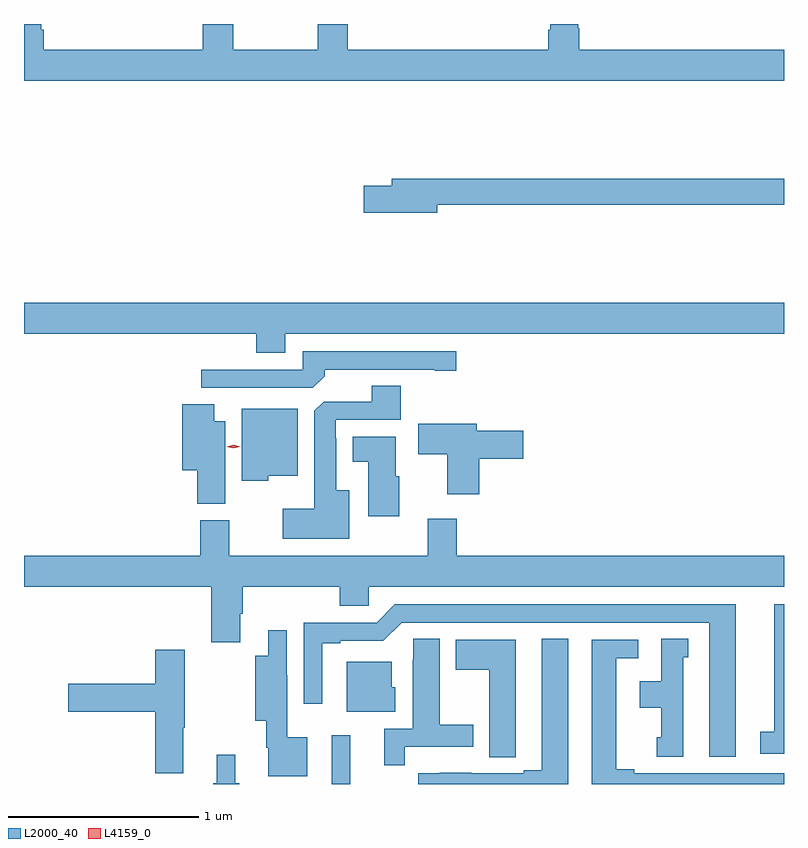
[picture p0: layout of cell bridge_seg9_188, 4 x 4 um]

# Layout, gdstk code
import gdstk
lib = gdstk.Library(unit=1e-6, precision=1e-09)
def R(c, l, rs):  # rectangles x0, y0, x1, y1
    for r in rs: c.add(gdstk.rectangle(r[:2], r[2:], *l))
def P(c, l, *ps):  # polygons
    for p in ps: c.add(gdstk.Polygon(p, *l))
L2000_40 = (2000, 40)
L4159_0 = (4159, 0)

bridge_seg9_188 = lib.new_cell('bridge_seg9_188')
R(bridge_seg9_188, L2000_40, [(181.818,1219.359,181.916,1219.615)])
P(bridge_seg9_188, L2000_40, [(180.199,1223.359),(180.199,1223.06),(184.199,1223.06),(184.199,1223.224),(183.122,1223.224),(183.122,1223.337),(183.117,1223.337),(183.117,1223.359),(182.969,1223.359),(182.969,1223.33),(182.957,1223.33),(182.957,1223.224),(181.904,1223.224),(181.904,1223.359),(181.744,1223.359),(181.744,1223.224),(181.299,1223.224),(181.299,1223.359),(181.139,1223.359),(181.139,1223.224),(180.302,1223.224),(180.302,1223.33),(180.289,1223.33),(180.289,1223.359)],
  [(182.374,1222.408),(184.199,1222.408),(184.199,1222.544),(182.135,1222.544),(182.135,1222.508),(181.986,1222.508),(181.986,1222.366),(182.374,1222.366)],
  [(181.573,1221.728),(184.199,1221.728),(184.199,1221.892),(180.199,1221.892),(180.199,1221.728),(181.421,1221.728),(181.421,1221.629),(181.573,1221.629)],
  [(181.781,1221.506),(181.781,1221.54),(182.36,1221.54),(182.36,1221.535),(182.473,1221.535),(182.473,1221.636),(181.665,1221.636),(181.665,1221.54),(181.131,1221.54),(181.131,1221.444),(181.719,1221.444)],
  [(181.912,1220.905),(181.843,1220.905),(181.843,1221.179),(181.839,1221.179),(181.839,1221.276),(182.183,1221.276),(182.183,1221.455),(182.03,1221.455),(182.03,1221.372),(181.776,1221.372),(181.727,1221.323),(181.727,1220.809),(181.56,1220.809),(181.56,1220.651),(181.912,1220.651)],
  [(181.258,1221.268),(181.201,1221.268),(181.201,1221.359),(181.031,1221.359),(181.031,1221.011),(181.112,1221.011),(181.112,1220.833),(181.258,1220.833)],
  [(181.485,1220.981),(181.639,1220.981),(181.639,1221.334),(181.346,1221.334),(181.346,1220.954),(181.485,1220.954)],
  [(182.594,1221.071),(182.827,1221.071),(182.827,1221.218),(182.581,1221.218),(182.581,1221.256),(182.274,1221.256),(182.274,1221.094),(182.426,1221.094),(182.426,1220.883),(182.594,1220.883)],
  [(182.173,1220.979),(182.155,1220.979),(182.155,1221.187),(181.928,1221.187),(181.928,1221.056),(182.012,1221.056),(182.012,1220.769),(182.173,1220.769)],
  [(181.336,1220.254),(181.349,1220.254),(181.349,1220.396),(181.862,1220.396),(181.862,1220.298),(182.013,1220.298),(182.013,1220.396),(184.199,1220.396),(184.199,1220.56),(182.477,1220.56),(182.477,1220.755),(182.324,1220.755),(182.324,1220.56),(181.279,1220.56),(181.279,1220.748),(181.127,1220.748),(181.127,1220.56),(180.199,1220.56),(180.199,1220.396),(181.184,1220.396),(181.184,1220.106),(181.336,1220.106)],
  [(184.199,1220.304),(184.148,1220.304),(184.148,1219.634),(184.074,1219.634),(184.074,1219.518),(184.199,1219.518)],
  [(183.946,1220.304),(182.151,1220.304),(182.055,1220.208),(181.671,1220.208),(181.671,1219.782),(181.768,1219.782),(181.768,1220.1),(181.864,1220.1),(181.864,1220.112),(182.091,1220.112),(182.187,1220.208),(183.806,1220.208),(183.806,1219.503),(183.946,1219.503)],
  [(181.69,1219.606),(181.584,1219.606),(181.584,1219.931),(181.582,1219.931),(181.582,1220.167),(181.484,1220.167),(181.484,1220.035),(181.417,1220.035),(181.417,1219.691),(181.473,1219.691),(181.473,1219.55),(181.485,1219.55),(181.485,1219.4),(181.69,1219.4)],
  [(182.204,1219.554),(182.563,1219.554),(182.563,1219.671),(182.386,1219.671),(182.386,1220.123),(182.247,1220.123),(182.247,1220.012),(182.246,1220.012),(182.246,1219.65),(182.096,1219.65),(182.096,1219.458),(182.204,1219.458)],
  [(183.064,1220.123),(182.924,1220.123),(182.924,1219.431),(182.828,1219.431),(182.828,1219.416),(182.552,1219.416),(182.552,1219.417),(182.386,1219.417),(182.386,1219.416),(182.274,1219.416),(182.274,1219.359),(183.064,1219.359)],
  [(183.67,1220.025),(183.694,1220.025),(183.694,1220.123),(183.554,1220.123),(183.554,1219.9),(183.44,1219.9),(183.44,1219.76),(183.554,1219.76),(183.554,1219.605),(183.53,1219.605),(183.53,1219.503),(183.67,1219.503)],
  [(182.787,1219.609),(182.788,1219.609),(182.788,1220.119),(182.471,1220.119),(182.471,1219.96),(182.648,1219.96),(182.648,1219.501),(182.787,1219.501)],
  [(184.199,1219.416),(183.412,1219.416),(183.412,1219.436),(183.316,1219.436),(183.316,1220.022),(183.433,1220.022),(183.433,1220.118),(183.188,1220.118),(183.188,1219.359),(184.199,1219.359)],
  [(181.036,1219.655),(181.044,1219.655),(181.044,1220.065),(180.89,1220.065),(180.89,1219.886),(180.432,1219.886),(180.432,1219.739),(180.89,1219.739),(180.89,1219.416),(181.036,1219.416)],
  [(182.152,1219.869),(182.134,1219.869),(182.134,1220.002),(181.898,1220.002),(181.898,1219.739),(182.152,1219.739)],
  [(181.331,1219.362),(181.312,1219.362),(181.312,1219.513),(181.214,1219.513),(181.214,1219.362),(181.195,1219.362),(181.195,1219.359),(181.331,1219.359)])
P(bridge_seg9_188, L4159_0, [(181.301,1221.125),(181.265,1221.135),(181.265,1221.135),(181.265,1221.135),(181.302,1221.145),(181.338,1221.135),(181.338,1221.135),(181.338,1221.135)])

lib.write_gds('bridge_seg9_188.gds')
